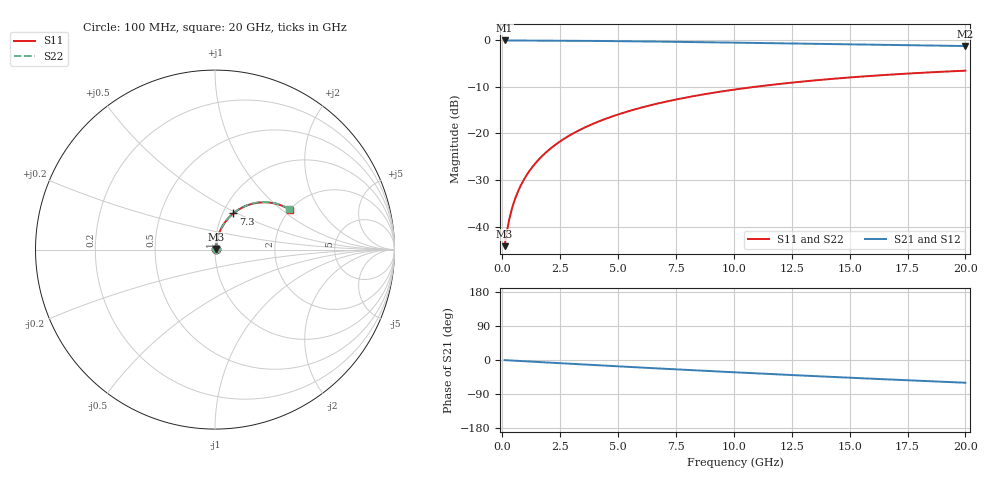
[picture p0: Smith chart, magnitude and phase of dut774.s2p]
! Touchstone file exported from HFSS 2026.1.0
!  File:  C:/ffzhzh/LocalFiles/Ansys_Project_Files/temp_train_BSMRDL_774_1783169241_18472.aedt
!  Generated:  08:48:46 PM Jul  4, 2026
!  Design:  BSMRDL
!  Project:  temp_train_BSMRDL_774_1783169241_18472
! Variables:
!  h_bsmrdl = 3.35um
!  h_ox = 20um
!  h_rdl = 5um
!  h_sub = 80um
!  h_tmrdl = 5um
!  h_tsv = 80um
!  h_via = 3um
!  l_bsmrdl = 953.92um
!  l_sub = 1353.92um
!  l_tmrdl = 200um
!  m_sub = 200um
!  pitch = 44.83um
!  r_tsv = 6um
!  s_tmrdl = 10um
!  w_bsmrdl = 20.96um
!  w_sub = 500um
!  w_tmrdl = 12um
!  x_tsv_center1 = 206um
!  x_tsv_center2 = 1180.88um
!  x_tsv_center3 = 1392.88um
!  x_tsv_center4 = 2367.76um
!  x_tsv_center5 = 2579.76um
!  x_tsv_center6 = 3554.64um
# GHz S MA R 50.000000
! Terminal data exported
! Port[1] = BSM_RDL1_1_T1
! Port[2] = BSM_RDL1_1_T2
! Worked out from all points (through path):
!   200 points, 100 MHz to 20 GHz, reference 50 ohm
!   highest |S21| = -0.04 dB at 100 MHz (marker M1); lowest = -1.2 dB at 20 GHz (marker M2)
!   group delay of S21, straight-line fit = 8.33 ps
!   lowest |S11| = -44.2 dB at 100 MHz (marker M3), VSWR 1.01, Z = 50.5 + j0.368 ohm
!   |S11| at or under -10 dB: start of sweep to 10.91 GHz
!   |S22| runs from -44.2 to -6.5 dB; largest |S21 - S12| = 4.4e-15
!   S11 on the Smith chart (normalised r, x): 100 MHz: 1.01, +0.01; 7.3 GHz: 1.12, +0.48; 20 GHz: 1.99, +1.14
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0.1  0.006165 36.2  0.995 -0.4  0.995 -0.4  0.006165 36.2
! Gamma 0 0 0 0
! Port Impedance 50 0 50 0
0.2  0.008891 53.7  0.9948 -0.7  0.9948 -0.7  0.008891 53.7
0.3  0.01196 61.9  0.9945 -1.1  0.9945 -1.1  0.01196 61.9
0.4  0.01508 66.5  0.9942 -1.4  0.9942 -1.4  0.01508 66.6
0.5  0.01821 69.5  0.994 -1.7  0.994 -1.7  0.01821 69.6
0.6  0.02136 71.6  0.9938 -2.1  0.9938 -2.1  0.02136 71.7
0.8  0.02768 74.3  0.9934 -2.7  0.9934 -2.7  0.02768 74.3
1.1  0.03726 76.4  0.9929 -3.8  0.9929 -3.8  0.03726 76.4
1.3  0.04368 77.0  0.9926 -4.4  0.9926 -4.4  0.04368 77.0
1.6  0.05334 77.4  0.992 -5.4  0.992 -5.4  0.05334 77.4
2.1  0.06943 77.2  0.9907 -7.1  0.9907 -7.1  0.06943 77.2
2.7  0.08862 76.2  0.9888 -9.1  0.9888 -9.1  0.08862 76.2
3.5  0.1139 74.3  0.9857 -11.8  0.9857 -11.8  0.1139 74.3
4.2  0.1356 72.4  0.9825 -14.1  0.9825 -14.1  0.1356 72.4
5  0.1598 70.0  0.9783 -16.7  0.9783 -16.7  0.1598 70.1
6.8  0.2119 64.7  0.967 -22.5  0.967 -22.5  0.2119 64.8
7.3  0.2257 63.2  0.9635 -24.1  0.9635 -24.1  0.2257 63.3
8.6  0.2602 59.3  0.954 -28.1  0.954 -28.1  0.2602 59.4
10.1  0.2973 54.8  0.9423 -32.7  0.9423 -32.7  0.2973 55.0
13.4  0.369 45.5  0.9156 -42.3  0.9156 -42.3  0.369 45.7
16.7  0.4269 36.6  0.8897 -51.4  0.8897 -51.4  0.4269 36.9
20  0.4717 28.2  0.867 -60.0  0.867 -60.0  0.4717 28.6
